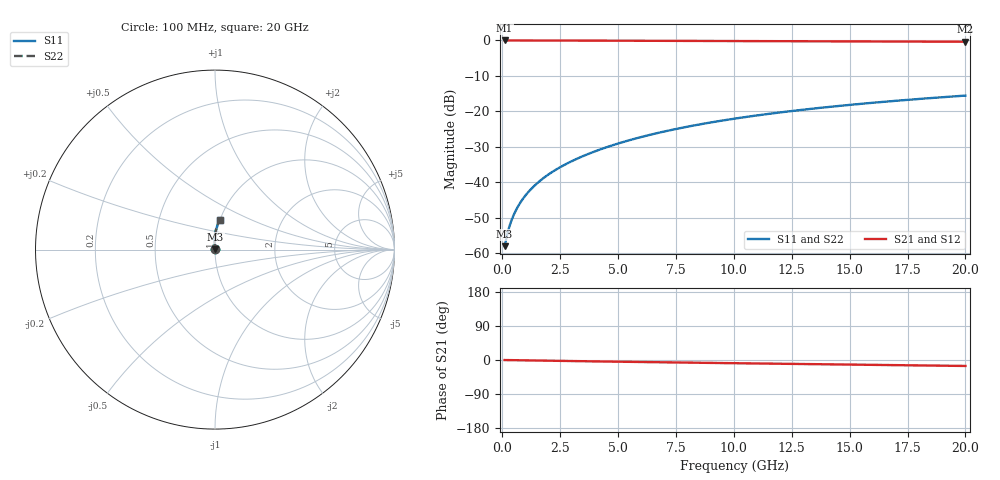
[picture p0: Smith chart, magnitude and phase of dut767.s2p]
! Touchstone file exported from HFSS 2024.1.0
!  File:  C:/UserFiles/LocalFiles/RDL_TSV_Batchsim/temp_RDL_bottom_767_1779860461.aedt
!  Generated:  01:43:17 PM May 27, 2026
!  Design:  RDL_bottom
!  Project:  temp_RDL_bottom_767_1779860461
!  Setup:  Setup1
!  Solution:  Sweep
! Variables:
!  dtsv = 10.80580581um
!  hbump = 3um
!  htsv = 61.86um
!  ldown = 188.38um
!  lrdl = 100um
!  p = 40
!  p1 = 57.67um
!  rhole = 1um
!  t = 450um
!  tdown = 3.03um
!  trdl = 3.915915916um
!  wdown = 29.73um
!  wrdl = 20um
# GHz S MA R 50.000000
! Terminal data exported
! Port[1] = RDL1_T1
! Port[2] = RDL1_T2
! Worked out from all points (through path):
!   200 points, 100 MHz to 20 GHz, reference 50 ohm
!   highest |S21| = -0.01 dB at 100 MHz (marker M1); lowest = -0.4 dB at 20 GHz (marker M2)
!   group delay of S21, straight-line fit = 2.15 ps
!   lowest |S11| = -57.9 dB at 100 MHz (marker M3), VSWR 1.00, Z = 50.1 + j0.0719 ohm
!   |S11| at or under -10 dB: start of sweep to end of sweep
!   |S22| runs from -57.9 to -15.5 dB; largest |S21 - S12| = 5e-15
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0.1  0.001267 34.5  0.9989 -0.1  0.9989 -0.1  0.001267 34.5
! Gamma 0 0 0 0
! Port Impedance 50 0 50 0
0.2  0.00178 52.2  0.9989 -0.2  0.9989 -0.2  0.00178 52.2
0.3  0.002357 61.1  0.9988 -0.3  0.9988 -0.3  0.002357 61.1
0.4  0.002943 66.5  0.9987 -0.4  0.9987 -0.4  0.002943 66.5
0.5  0.003533 70.3  0.9986 -0.5  0.9986 -0.5  0.003533 70.3
0.6  0.004126 73.2  0.9986 -0.6  0.9986 -0.6  0.004126 73.2
0.8  0.00533 77.4  0.9984 -0.8  0.9984 -0.8  0.00533 77.4
1.1  0.007179 81.5  0.9982 -1.0  0.9982 -1.0  0.007179 81.5
1.3  0.008437 83.4  0.998 -1.2  0.998 -1.2  0.008437 83.4
1.6  0.01036 85.6  0.9976 -1.5  0.9976 -1.5  0.01036 85.6
2.1  0.01367 88.1  0.9969 -2.0  0.9969 -2.0  0.01367 88.1
2.7  0.01781 90.2  0.9959 -2.5  0.9959 -2.5  0.01781 90.2
3.5  0.02361 91.9  0.9943 -3.2  0.9943 -3.2  0.02361 91.9
4.2  0.02895 92.8  0.9927 -3.8  0.9927 -3.8  0.02895 92.8
5  0.03533 93.3  0.9908 -4.5  0.9908 -4.5  0.03533 93.3
5.9  0.04279 93.4  0.9886 -5.3  0.9886 -5.3  0.04279 93.4
6.8  0.05049 93.1  0.9864 -6.0  0.9864 -6.0  0.05049 93.1
8.4  0.06457 92.1  0.9825 -7.2  0.9825 -7.2  0.06457 92.1
10.1  0.0798 90.6  0.9786 -8.5  0.9786 -8.5  0.07979 90.6
13.4  0.1094 87.3  0.9716 -11.0  0.9716 -11.0  0.1094 87.3
16.7  0.1386 84.0  0.9649 -13.4  0.9649 -13.4  0.1386 84.0
20  0.1671 80.8  0.9582 -15.7  0.9582 -15.7  0.1671 80.8
